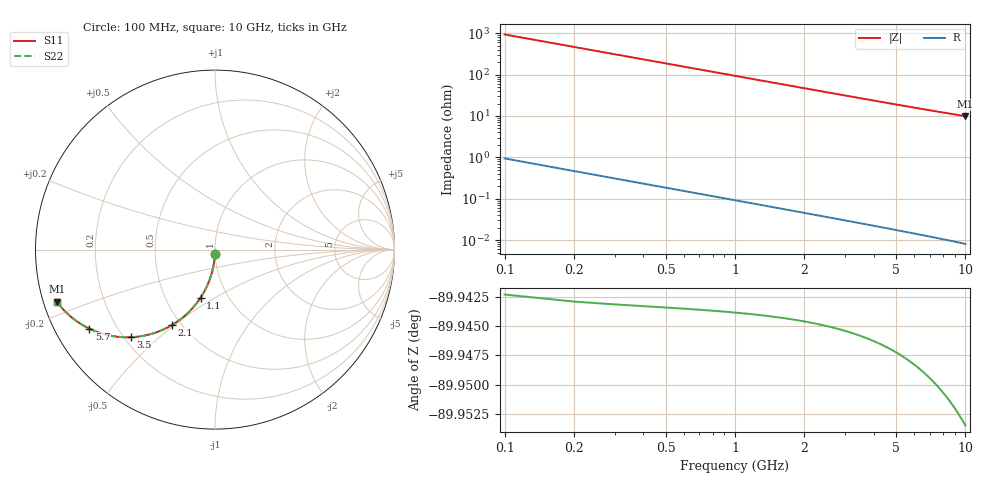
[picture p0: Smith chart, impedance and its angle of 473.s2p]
# Hz S RI R 50.00
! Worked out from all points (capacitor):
!   100 points, 100 MHz to 10 GHz, reference 50 ohm
!   read as one part in shunt: C = 1.7 pF near 100 MHz
!   lowest |Z| = 9.92 ohm at 10 GHz (marker M1)
!   S11 on the Smith chart (normalised r, x): 100 MHz: 1.00, -0.05; 1.1 GHz: 0.75, -0.43; 2.1 GHz: 0.45, -0.49; 3.5 GHz: 0.23, -0.41; 5.7 GHz: 0.10, -0.28; 10 GHz: 0.04, -0.16
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1e8  -0.000682 -0.0264  0.9992 -0.027  0.9992 -0.027  -0.000682 -0.0264
2e8  -0.00284 -0.0527  0.997 -0.0538  0.997 -0.0538  -0.00284 -0.0527
3e8  -0.0064 -0.0787  0.9935 -0.0805  0.9935 -0.0805  -0.0064 -0.0787
4e8  -0.0113 -0.1044  0.9886 -0.1068  0.9886 -0.1068  -0.0113 -0.1044
5e8  -0.0176 -0.1297  0.9823 -0.1326  0.9823 -0.1326  -0.0176 -0.1297
6e8  -0.0251 -0.1544  0.9748 -0.1579  0.9748 -0.1579  -0.0251 -0.1544
7e8  -0.0339 -0.1785  0.966 -0.1826  0.966 -0.1826  -0.0339 -0.1785
9e8  -0.0547 -0.2245  0.9451 -0.2298  0.9451 -0.2298  -0.0547 -0.2245
1.1e9  -0.0796 -0.2671  0.9202 -0.2735  0.9202 -0.2735  -0.0796 -0.2671
1.4e9  -0.1229 -0.3238  0.877 -0.332  0.877 -0.332  -0.1229 -0.3238
1.8e9  -0.188 -0.385  0.8118 -0.3956  0.8118 -0.3956  -0.188 -0.385
2.1e9  -0.2397 -0.4202  0.7601 -0.4326  0.7601 -0.4326  -0.2397 -0.4202
2.7e9  -0.3427 -0.4662  0.657 -0.4822  0.657 -0.4822  -0.3427 -0.4662
3.4e9  -0.453 -0.4872  0.5467 -0.5074  0.5467 -0.5074  -0.453 -0.4872
3.5e9  -0.4674 -0.488  0.5322 -0.5089  0.5322 -0.5089  -0.4674 -0.488
4.3e9  -0.5704 -0.4816  0.4292 -0.5073  0.4292 -0.5073  -0.5704 -0.4816
5.1e9  -0.6519 -0.4604  0.3475 -0.4911  0.3475 -0.4911  -0.6519 -0.4604
5.7e9  -0.7011 -0.4399  0.2982 -0.4743  0.2982 -0.4743  -0.7011 -0.4399
6.7e9  -0.765 -0.4028  0.234 -0.4436  0.234 -0.4436  -0.765 -0.4028
7.5e9  -0.8038 -0.3732  0.195 -0.4191  0.195 -0.4191  -0.8038 -0.3732
8.4e9  -0.8378 -0.3415  0.1607 -0.3934  0.1607 -0.3934  -0.8378 -0.3415
1e10  -0.8808 -0.2909  0.117 -0.3535  0.117 -0.3535  -0.8808 -0.2909
